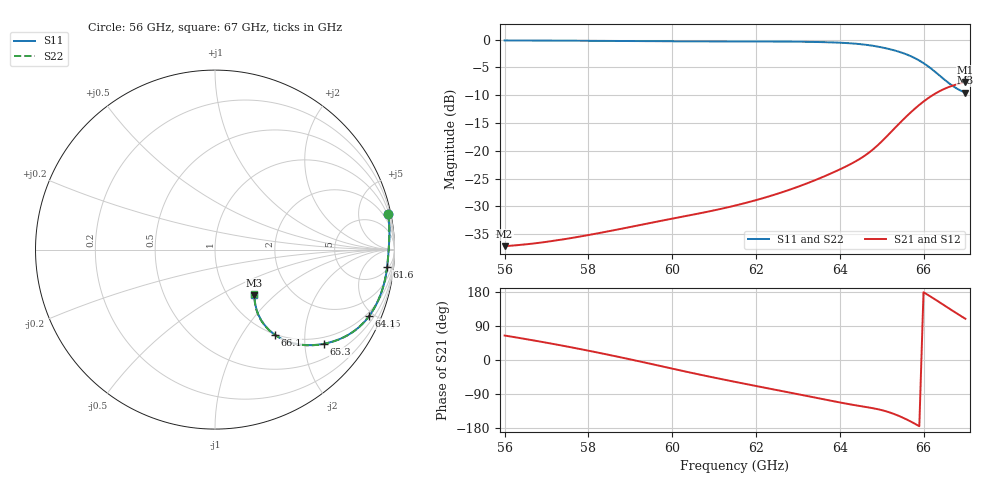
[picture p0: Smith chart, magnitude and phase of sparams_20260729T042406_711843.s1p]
! Touchstone file exported from HFSS 2023.2.0
!  File:  C:/Users/Gongzhui/Documents/Projects/hfss-mcp/benchmark/cases/siw_feed_l1/runs/run_probe_main/app_data/workspace/runs/run_probe_main/work/siw_feed_l1_sandbox.aedt
!  Generated:  12:24:06 %x4E0B%x5348  7%x6708 29, 2026
!  Design:  SIW Feed Structure
!  Project:  siw_feed_l1_sandbox
!  Setup:  Setup1
!  Solution:  Sweep
! Variables:
!  Ty = 2.5mm
!  cd = 0.75mm
!  cx = 7.9mm
!  cy = 7.9mm
!  fl = 0.315mm
!  fw = 0.7517mm
!  fx = 2.6516mm
!  fy = 2.0646mm
!  gap = 0.18mm
!  gx = 15.65mm
!  gy = 13mm
!  hsub = 0.787mm
!  lWG = 3.875mm
!  offset = 0.04mm
!  pl = 1.4mm
!  pw = 0.6mm
!  t1 = 0.2502mm
!  t2 = 0.2mm
!  vd = 0.3mm
!  vs = 0.58mm
!  wWG = 4.4292mm
# GHz S MA R 50.000000
! Terminal data exported
! Port[1] = 1
! Port[2] = 2
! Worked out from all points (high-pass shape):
!   111 points, 56 GHz to 67 GHz, reference 50 ohm
!   highest |S21| = -7.66 dB at 67 GHz (marker M1); lowest = -37.2 dB at 56 GHz (marker M2)
!   |S21| within 3 dB of the highest: 66.09 GHz to end of sweep
!   lowest |S11| = -9.5 dB at 67 GHz (marker M3), VSWR 2.00, Z = 65.9 - j37.4 ohm
!   |S11| at or under -10 dB: nowhere
!   |S22| runs from -9.6 to -0.1 dB; largest |S21 - S12| = 7.9e-15
!   S11 on the Smith chart (normalised r, x): 56 GHz: 0.79, +9.87; 61.6 GHz: 6, -18; 64.1 GHz: 0.80, -4.72; 65.3 GHz: 0.83, -2.44; 66.1 GHz: 0.99, -1.42; 67 GHz: 1.32, -0.75
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56  0.9841 11.5  0.01387 64.6  0.01387 64.6  0.984 11.5
56.9  0.9817 9.0  0.015 47.6  0.015 47.6  0.9816 9.0
57.9  0.9776 6.3  0.01719 26.8  0.01719 26.8  0.9775 6.3
59.7  0.9691 1.1  0.0233 -15.3  0.0233 -15.3  0.9689 1.1
61.5  0.9641 -5.3  0.03215 -57.6  0.03215 -57.6  0.9638 -5.3
61.6  0.964 -5.8  0.03284 -59.8  0.03284 -59.8  0.9637 -5.8
62.5  0.9618 -10.3  0.04094 -79.4  0.04094 -79.4  0.9614 -10.3
63.4  0.9539 -16.5  0.05422 -98.9  0.05422 -98.9  0.9536 -16.5
64.1  0.9353 -23.3  0.07085 -114.0  0.07085 -114.0  0.935 -23.3
64.4  0.9185 -27.0  0.08121 -119.9  0.08121 -119.9  0.9184 -27.0
64.7  0.8917 -31.3  0.09643 -125.5  0.09643 -125.5  0.892 -31.2
64.9  0.8671 -34.3  0.1116 -129.6  0.1116 -129.6  0.8677 -34.3
65.2  0.8203 -39.2  0.1444 -138.6  0.1444 -138.6  0.8211 -39.2
65.3  0.8019 -40.9  0.158 -142.6  0.158 -142.6  0.8028 -40.9
65.5  0.7602 -44.4  0.1885 -151.9  0.1885 -151.9  0.7609 -44.5
65.7  0.7097 -48.2  0.2226 -162.7  0.2226 -162.7  0.7101 -48.3
65.9  0.6492 -51.9  0.2589 -174.8  0.2589 -174.8  0.649 -52.0
66.1  0.5795 -54.9  0.2958 172.1  0.2958 172.1  0.5786 -55.1
66.3  0.5058 -56.7  0.3308 158.2  0.3308 158.2  0.5042 -56.8
66.5  0.4372 -56.4  0.3614 143.9  0.3614 143.9  0.4348 -56.5
66.7  0.3828 -53.9  0.3863 129.6  0.3863 129.6  0.3799 -53.9
67  0.3336 -49.1  0.414 108.8  0.414 108.8  0.3306 -48.7
